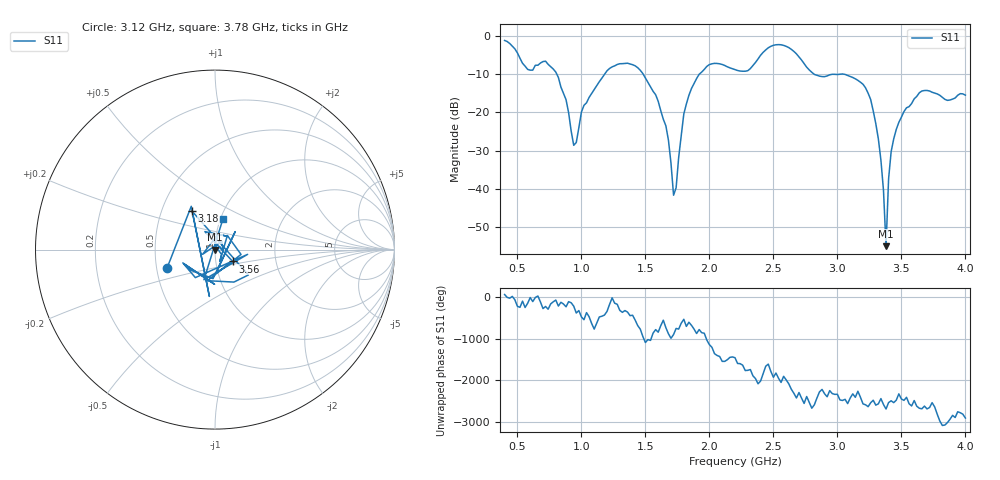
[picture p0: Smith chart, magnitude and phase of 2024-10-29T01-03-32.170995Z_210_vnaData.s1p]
!Created with skrf (http://scikit-rf.org).
# Hz S RI R 50.0
!freq ReS11 ImS11
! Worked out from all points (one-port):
!   181 points, 400 MHz to 4 GHz, reference 50 ohm
!   lowest |S11| = -55.0 dB at 3.38 GHz (marker M1), VSWR 1.00, Z = 49.8 - j0.0609 ohm
!   |S11| at or under -10 dB: 807.8 MHz to 1.181 GHz (373.4 MHz wide, 37.5 % of centre); 1.483 GHz to 1.921 GHz (438 MHz wide, 25.7 % of centre); 3.05 GHz to end of sweep (the widest 3 of 4)
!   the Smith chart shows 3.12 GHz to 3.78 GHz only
!   S11 on the Smith chart (normalised r, x): 3.12 GHz: 0.57, -0.13; 3.18 GHz: 0.71, +0.32; 3.56 GHz: 1.21, -0.16; 3.78 GHz: 1.03, +0.36
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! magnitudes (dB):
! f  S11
! 400 MHz  -1.2
! 580 MHz  -8.7
! 720 MHz  -6.6
! 860 MHz  -15.0
! 940 MHz  -28.6
! 1.02 GHz  -18.1
! 1.3 GHz  -7.3
! 1.58 GHz  -15.4
! 1.66 GHz  -23.5
! 1.72 GHz  -41.6
! 1.76 GHz  -31.7
! 1.8 GHz  -20.4
! 1.92 GHz  -10.0
! 2.2 GHz  -8.8
! 2.66 GHz  -4.0
! 2.82 GHz  -10.1
! 3.1 GHz  -10.6
! 3.12 GHz  -10.9
! 3.18 GHz  -12.1
! 3.26 GHz  -16.6
! 3.32 GHz  -26.9
! 3.36 GHz  -40.3
! 3.38 GHz  -55.0
! 3.4 GHz  -37.4
! 3.42 GHz  -30.2
! 3.56 GHz  -18.5
! 3.78 GHz  -15.2
! 4 GHz  -15.5
